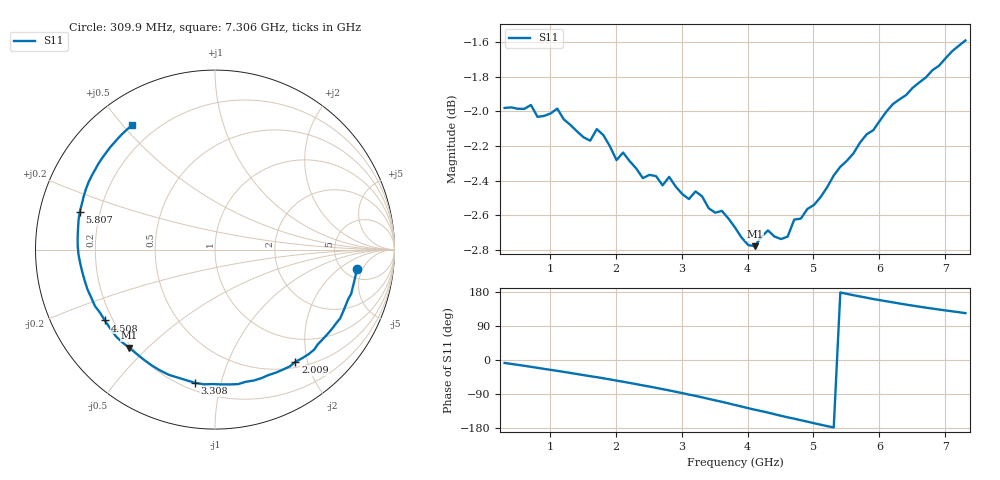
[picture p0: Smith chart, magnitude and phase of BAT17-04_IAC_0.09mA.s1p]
! Infineon Technologies  Discrete & RF Semiconductors
! BAT17-04
! IAC = 0.09 mA
! One-Port S-Parameters
# Hz  S  MA  R  50
!f  S11
!Hz  Mag  Ang
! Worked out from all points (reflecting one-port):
!   71 points, 309.9 MHz to 7.306 GHz, reference 50 ohm
!   lowest |S11| = -2.8 dB at 4.108 GHz (marker M1), VSWR 6.30, Z = 9.52 - j22 ohm
!   phase of S11 starts at -8 deg and turns -229 deg over the sweep
!   S11 on the Smith chart (normalised r, x): 309.9 MHz: 6.52, -3.83; 2.009 GHz: 0.59, -1.80; 3.308 GHz: 0.24, -0.83; 4.508 GHz: 0.17, -0.29; 5.807 GHz: 0.12, +0.13; 7.306 GHz: 0.12, +0.53
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3.0985e8  0.7961 -7.8
7.0965e8  0.7977 -18.0
1.10945e9  0.7957 -28.7
1.2094e9  0.79 -31.3
1.70915e9  0.785 -45.3
2.009e9  0.769 -54.4
2.10895e9  0.7728 -57.3
2.6087e9  0.7608 -73.4
2.8086e9  0.7604 -80.2
3.0085e9  0.7518 -87.4
3.2084e9  0.7531 -94.6
3.30835e9  0.7507 -98.5
3.6082e9  0.7434 -110.3
3.8081e9  0.7353 -118.7
4.10795e9  0.7262 -131.2
4.30785e9  0.7339 -138.7
4.50775e9  0.7296 -147.3
4.70765e9  0.7391 -154.8
4.90755e9  0.7444 -162.7
5.2074e9  0.7552 -174.5
5.4073e9  0.7655 178.3
5.6072e9  0.7724 171.0
5.8071e9  0.7823 164.4
5.90705e9  0.7844 160.9
6.2069e9  0.7982 152.1
6.50675e9  0.8068 143.5
6.90655e9  0.8188 133.1
7.30635e9  0.8326 123.7
